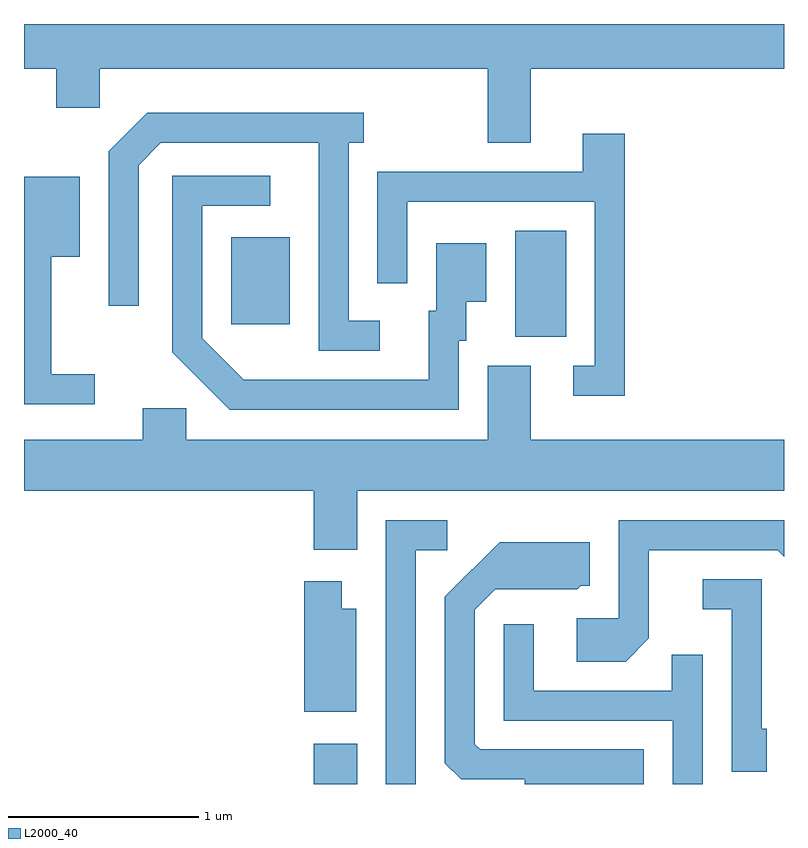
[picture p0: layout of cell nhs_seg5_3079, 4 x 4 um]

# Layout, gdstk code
import gdstk
lib = gdstk.Library(unit=1e-6, precision=1e-09)
def R(c, l, rs):  # rectangles x0, y0, x1, y1
    for r in rs: c.add(gdstk.rectangle(r[:2], r[2:], *l))
def P(c, l, *ps):  # polygons
    for p in ps: c.add(gdstk.Polygon(p, *l))
L2000_40 = (2000, 40)

nhs_seg5_3079 = lib.new_cell('nhs_seg5_3079')
R(nhs_seg5_3079, L2000_40, [(277.136,1524.072,277.364,1524.284), (278.196,1526.426,278.464,1526.984), (276.701,1526.491,277.009,1526.949)])
P(nhs_seg5_3079, L2000_40, [(278.279,1527.836),(279.611,1527.836),(279.611,1528.072),(275.611,1528.072),(275.611,1527.836),(275.781,1527.836),(275.781,1527.631),(276.009,1527.631),(276.009,1527.836),(278.051,1527.836),(278.051,1527.446),(278.279,1527.446)],
  [(277.483,1526.509),(277.319,1526.509),(277.319,1527.446),(277.398,1527.446),(277.398,1527.604),(276.259,1527.604),(276.056,1527.402),(276.056,1526.588),(276.214,1526.588),(276.214,1527.329),(276.332,1527.446),(277.161,1527.446),(277.161,1526.351),(277.483,1526.351)],
  [(278.774,1527.494),(278.551,1527.494),(278.551,1527.294),(277.471,1527.294),(277.471,1526.708),(277.629,1526.708),(277.629,1527.136),(278.616,1527.136),(278.616,1526.274),(278.503,1526.274),(278.503,1526.116),(278.774,1526.116)],
  [(277.899,1526.406),(277.939,1526.406),(277.939,1526.611),(278.044,1526.611),(278.044,1526.919),(277.781,1526.919),(277.781,1526.564),(277.741,1526.564),(277.741,1526.199),(276.767,1526.199),(276.549,1526.417),(276.549,1527.116),(276.908,1527.116),(276.908,1527.274),(276.391,1527.274),(276.391,1526.344),(276.694,1526.041),(277.899,1526.041)],
  [(275.983,1526.229),(275.754,1526.229),(275.754,1526.846),(275.904,1526.846),(275.904,1527.269),(275.611,1527.269),(275.611,1526.071),(275.983,1526.071)],
  [(276.464,1526.049),(276.236,1526.049),(276.236,1525.884),(275.611,1525.884),(275.611,1525.616),(277.136,1525.616),(277.136,1525.306),(277.364,1525.306),(277.364,1525.616),(279.611,1525.616),(279.611,1525.884),(278.279,1525.884),(278.279,1526.274),(278.051,1526.274),(278.051,1525.884),(276.464,1525.884)],
  [(277.674,1525.301),(277.838,1525.301),(277.838,1525.459),(277.516,1525.459),(277.516,1524.072),(277.674,1524.072)],
  [(278.899,1524.839),(278.899,1525.301),(279.579,1525.301),(279.611,1525.269),(279.611,1525.459),(278.741,1525.459),(278.741,1524.944),(278.521,1524.944),(278.521,1524.716),(278.777,1524.716)],
  [(278.874,1524.254),(278.012,1524.254),(277.984,1524.282),(277.984,1524.989),(278.092,1525.096),(278.522,1525.096),(278.542,1525.116),(278.589,1525.116),(278.589,1525.344),(278.114,1525.344),(277.826,1525.057),(277.826,1524.182),(277.912,1524.096),(278.246,1524.096),(278.246,1524.072),(278.874,1524.072)],
  [(279.519,1524.364),(279.494,1524.364),(279.494,1525.149),(279.183,1525.149),(279.183,1524.991),(279.336,1524.991),(279.336,1524.136),(279.519,1524.136)],
  [(277.359,1524.994),(277.284,1524.994),(277.284,1525.139),(277.086,1525.139),(277.086,1524.451),(277.359,1524.451)],
  [(279.184,1524.753),(279.021,1524.753),(279.021,1524.564),(278.294,1524.564),(278.294,1524.913),(278.136,1524.913),(278.136,1524.406),(279.026,1524.406),(279.026,1524.072),(279.184,1524.072)])

lib.write_gds('nhs_seg5_3079.gds')
